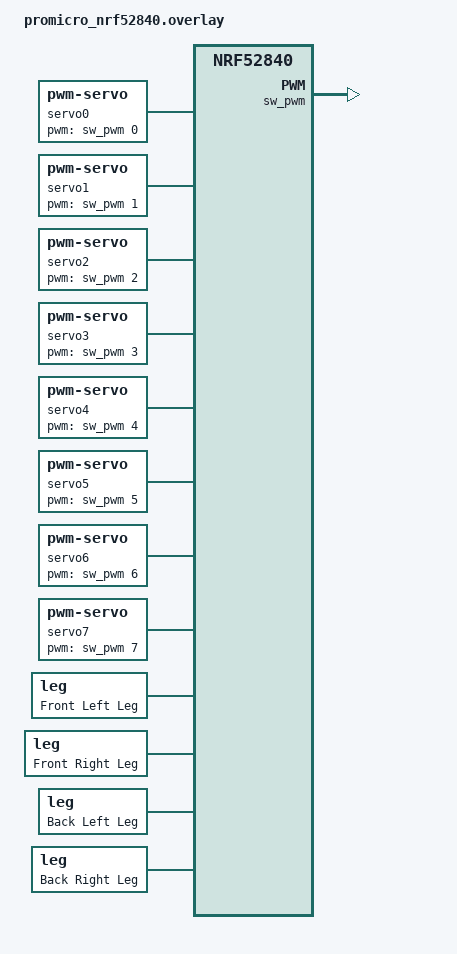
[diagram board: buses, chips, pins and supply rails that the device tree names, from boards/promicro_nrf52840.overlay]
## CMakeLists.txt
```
# Copyright (C) 2026 Georgi Danovski
#
# This program is free software: you can redistribute it and/or modify
# it under the terms of the GNU General Public License as published by
# the Free Software Foundation, either version 3 of the License, or
# (at your option) any later version.
#
# This program is distributed in the hope that it will be useful,
# but WITHOUT ANY WARRANTY; without even the implied warranty of
# MERCHANTABILITY or FITNESS FOR A PARTICULAR PURPOSE.  See the
# GNU General Public License for more details.
#
# You should have received a copy of the GNU General Public License
# along with this program.  If not, see <https://www.gnu.org/licenses/>.

cmake_minimum_required(VERSION 3.20.0)

set(ZEPHYR_EXTRA_MODULES
	${CMAKE_CURRENT_SOURCE_DIR}/modules/leg
	${CMAKE_CURRENT_SOURCE_DIR}/modules/quadruped
	${CMAKE_CURRENT_SOURCE_DIR}/modules/voltage_regulator
	${CMAKE_CURRENT_SOURCE_DIR}/modules/move_controller
	${CMAKE_CURRENT_SOURCE_DIR}/modules/measurements
	${CMAKE_CURRENT_SOURCE_DIR}/modules/ble_peripheral
	${CMAKE_CURRENT_SOURCE_DIR}/modules/led
	${ZEPHYR_EXTRA_MODULES}
)

find_package(Zephyr REQUIRED HINTS $ENV{ZEPHYR_BASE})

project(Quadruped)

target_sources(app PRIVATE src/main.c)
```

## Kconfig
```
# Copyright (C) 2026 Georgi Danovski
#
# This program is free software: you can redistribute it and/or modify
# it under the terms of the GNU General Public License as published by
# the Free Software Foundation, either version 3 of the License, or
# (at your option) any later version.
#
# This program is distributed in the hope that it will be useful,
# but WITHOUT ANY WARRANTY; without even the implied warranty of
# MERCHANTABILITY or FITNESS FOR A PARTICULAR PURPOSE.  See the
# GNU General Public License for more details.
#
# You should have received a copy of the GNU General Public License
# along with this program.  If not, see <https://www.gnu.org/licenses/>.

source "Kconfig.zephyr"

menu "Application options"

config APP_LOG_LEVEL
	int "Application log level"
	range 0 4
	default 3
	depends on LOG
	help
	  Log level for the application module.
	  0: off, 1: error, 2: warning, 3: info, 4: debug.

endmenu
```

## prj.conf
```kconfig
# Copyright (C) 2026 Georgi Danovski
#
# This program is free software: you can redistribute it and/or modify
# it under the terms of the GNU General Public License as published by
# the Free Software Foundation, either version 3 of the License, or
# (at your option) any later version.
#
# This program is distributed in the hope that it will be useful,
# but WITHOUT ANY WARRANTY; without even the implied warranty of
# MERCHANTABILITY or FITNESS FOR A PARTICULAR PURPOSE.  See the
# GNU General Public License for more details.
#
# You should have received a copy of the GNU General Public License
# along with this program.  If not, see <https://www.gnu.org/licenses/>.

# Disable bootloader support, as the bootloader is not used in this project
CONFIG_BOARD_HAS_NRF5_BOOTLOADER=n

# Enable RTT console support and logging
CONFIG_CONSOLE=y
CONFIG_PRINTK=y
CONFIG_USE_SEGGER_RTT=y
CONFIG_RTT_CONSOLE=y
CONFIG_UART_CONSOLE=n
CONFIG_LOG=y
CONFIG_LOG_BACKEND_RTT=y
CONFIG_LOG_DEFAULT_LEVEL=3
```

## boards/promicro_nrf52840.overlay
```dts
/*
 * Copyright (C) 2026 Georgi Danovski
 *
 * This program is free software: you can redistribute it and/or modify
 * it under the terms of the GNU General Public License as published by
 * the Free Software Foundation, either version 3 of the License, or
 * (at your option) any later version.
 *
 * This program is distributed in the hope that it will be useful,
  * but WITHOUT ANY WARRANTY; without even the implied warranty of
  * MERCHANTABILITY or FITNESS FOR A PARTICULAR PURPOSE.  See the
  * GNU General Public License for more details.
  *
  * You should have received a copy of the GNU General Public License
  * along with this program.  If not, see <https: //www.gnu.org/licenses/>.
  */
 / {
	 servo0: servo0 {
		 compatible = "pwm-servo";
		pwms = <&sw_pwm 0 PWM_MSEC(20) PWM_POLARITY_NORMAL>;
		min-pulse = <PWM_USEC(1000)>;
		max-pulse = <PWM_USEC(2000)>;
	};

	servo1: servo1 {
		compatible = "pwm-servo";
		pwms = <&sw_pwm 1 PWM_MSEC(20) PWM_POLARITY_NORMAL>;
		min-pulse = <PWM_USEC(1000)>;
		max-pulse = <PWM_USEC(2000)>;
	};

	servo2: servo2 {
		compatible = "pwm-servo";
		pwms = <&sw_pwm 2 PWM_MSEC(20) PWM_POLARITY_NORMAL>;
		min-pulse = <PWM_USEC(1000)>;
		max-pulse = <PWM_USEC(2000)>;
	};

	servo3: servo3 {
		compatible = "pwm-servo";
		pwms = <&sw_pwm 3 PWM_MSEC(20) PWM_POLARITY_NORMAL>;
		min-pulse = <PWM_USEC(1000)>;
		max-pulse = <PWM_USEC(2000)>;
	};

	servo4: servo4 {
		compatible = "pwm-servo";
		pwms = <&sw_pwm 4 PWM_MSEC(20) PWM_POLARITY_NORMAL>;
		min-pulse = <PWM_USEC(1000)>;
		max-pulse = <PWM_USEC(2000)>;
	};

	servo5: servo5 {
		compatible = "pwm-servo";
		pwms = <&sw_pwm 5 PWM_MSEC(20) PWM_POLARITY_NORMAL>;
		min-pulse = <PWM_USEC(1000)>;
		max-pulse = <PWM_USEC(2000)>;
	};

	servo6: servo6 {
		compatible = "pwm-servo";
		pwms = <&sw_pwm 6 PWM_MSEC(20) PWM_POLARITY_NORMAL>;
		min-pulse = <PWM_USEC(1000)>;
		max-pulse = <PWM_USEC(2000)>;
	};

	servo7: servo7 {
		compatible = "pwm-servo";
		pwms = <&sw_pwm 7 PWM_MSEC(20) PWM_POLARITY_NORMAL>;
		min-pulse = <PWM_USEC(1000)>;
		max-pulse = <PWM_USEC(2000)>;
	};

	leg0: leg-front-left {
		compatible = "zephyr,leg";
		label = "Front Left Leg";
		coxa = <&servo0>;
		femur = <&servo1>;
	};

	leg1: leg-front-right {
		compatible = "zephyr,leg";
		label = "Front Right Leg";
		coxa = <&servo2>;
		femur = <&servo3>;
	};

	leg2: leg-back-left {
		compatible = "zephyr,leg";
		label = "Back Left Leg";
		coxa = <&servo4>;
		femur = <&servo5>;
	};

	leg3: leg-back-right {
		compatible = "zephyr,leg";
		label = "Back Right Leg";
		coxa = <&servo6>;
		femur = <&servo7>;
	};
};

&sw_pwm {
	status = "okay";
	clock-prescaler = <3>;
	channel-gpios = <&gpio0 17 GPIO_ACTIVE_HIGH>,
	                <&gpio0 20 GPIO_ACTIVE_HIGH>,
	                <&gpio0 22 GPIO_ACTIVE_HIGH>,
	                <&gpio0 24 GPIO_ACTIVE_HIGH>,
	                <&gpio1 15 GPIO_ACTIVE_HIGH>,
	                <&gpio1 13 GPIO_ACTIVE_HIGH>,
	                <&gpio1 11 GPIO_ACTIVE_HIGH>,
	                <&gpio0 10 GPIO_ACTIVE_HIGH>;
};
```

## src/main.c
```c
/*
 * Copyright (C) 2026 Georgi Danovski
 *
 * This program is free software: you can redistribute it and/or modify
 * it under the terms of the GNU General Public License as published by
 * the Free Software Foundation, either version 3 of the License, or
 * (at your option) any later version.
 *
 * This program is distributed in the hope that it will be useful,
 * but WITHOUT ANY WARRANTY; without even the implied warranty of
 * MERCHANTABILITY or FITNESS FOR A PARTICULAR PURPOSE.  See the
 * GNU General Public License for more details.
 *
 * You should have received a copy of the GNU General Public License
 * along with this program.  If not, see <https://www.gnu.org/licenses/>.
 */

#include <zephyr/kernel.h>
#include <zephyr/logging/log.h>

#include "voltage_regulator/voltage_regulator.h"

LOG_MODULE_REGISTER(app);
LOG_MODULE_REGISTER(app, CONFIG_APP_LOG_LEVEL);

int main(void)
{
	voltage_regulator_configure_regout0_3v3();

	while (1)
	{
		LOG_INF("still running");
		k_sleep(K_SECONDS(1));
	}

	return 0;
}
```
